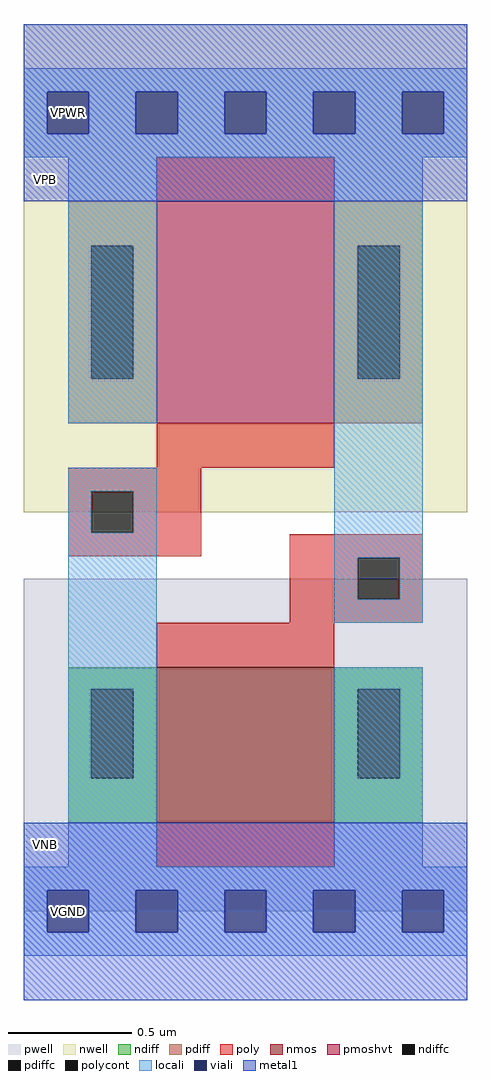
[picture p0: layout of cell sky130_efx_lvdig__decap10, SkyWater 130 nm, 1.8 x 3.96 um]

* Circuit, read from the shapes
.subckt sky130_efx_lvdig__decap10 VGND VPWR VPB VNB
XM1 VGND VPWR VGND VNB sky130_fd_pr__nfet_01v8 w=0.63 l=0.72
XM2 VPWR VGND VPWR VPB sky130_fd_pr__pfet_01v8_hvt w=0.9 l=0.72
.ends

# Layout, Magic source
magic
tech sky130A
magscale 1 2
<< nwell >>
rect 0 288 360 684
<< pwell >>
rect 0 0 360 216
<< poly >>
rect 108 324 252 360
rect 36 305 144 324
rect 36 271 55 305
rect 89 271 144 305
rect 36 252 144 271
rect 216 251 324 270
rect 216 217 271 251
rect 305 217 324 251
rect 216 198 324 217
rect 108 162 252 198
<< polycont >>
rect 55 271 89 305
rect 271 217 305 251
<< locali >>
rect 0 629 360 648
rect 0 595 19 629
rect 53 595 91 629
rect 125 595 163 629
rect 197 595 235 629
rect 269 595 307 629
rect 341 595 360 629
rect 0 576 360 595
rect 36 360 108 576
rect 36 305 108 324
rect 36 271 55 305
rect 89 271 108 305
rect 36 0 108 271
rect 252 251 324 576
rect 252 217 271 251
rect 305 217 324 251
rect 252 198 324 217
rect 252 0 324 162
rect 0 -19 360 0
rect 0 -53 19 -19
rect 53 -53 91 -19
rect 125 -53 163 -19
rect 197 -53 235 -19
rect 269 -53 307 -19
rect 341 -53 360 -19
rect 0 -72 360 -53
<< viali >>
rect 19 595 53 629
rect 91 595 125 629
rect 163 595 197 629
rect 235 595 269 629
rect 307 595 341 629
rect 19 -53 53 -19
rect 91 -53 125 -19
rect 163 -53 197 -19
rect 235 -53 269 -19
rect 307 -53 341 -19
<< metal1 >>
rect 0 629 360 684
rect 0 595 19 629
rect 53 595 91 629
rect 125 595 163 629
rect 197 595 235 629
rect 269 595 307 629
rect 341 595 360 629
rect 0 540 360 595
rect 0 -19 360 36
rect 0 -53 19 -19
rect 53 -53 91 -19
rect 125 -53 163 -19
rect 197 -53 235 -19
rect 269 -53 307 -19
rect 341 -53 360 -19
rect 0 -108 360 -53
use nmos_n3f5_f1_l720_ff_sp  nmos_n3f5_f1_l720_ff_sp_0
transform 1 0 72 0 1 36
box -72 -72 288 198
use pmos_n5_f1_l720_hvt_ff_sp  pmos_n5_f1_l720_hvt_ff_sp_0
transform 1 0 72 0 1 360
box -72 -72 288 252
<< labels >>
flabel metal1 0 -72 72 0 0 FreeSans 288 0 0 0 VGND
port 1 nsew ground bidirectional
flabel metal1 0 576 72 648 0 FreeSans 288 0 0 0 VPWR
port 2 nsew power bidirectional
flabel nwell 0 540 36 576 0 FreeSans 288 0 0 0 VPB
port 3 nsew power bidirectional
flabel pwell 0 0 36 36 0 FreeSans 288 0 0 0 VNB
port 4 nsew ground bidirectional
<< properties >>
string FIXED_BBOX 0 -36 360 612
<< end >>

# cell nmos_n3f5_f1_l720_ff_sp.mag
magic
tech sky130A
magscale 1 2
<< pwell >>
rect -72 -72 288 198
<< nmos >>
rect 36 0 180 126
<< ndiff >>
rect -36 108 36 126
rect -36 36 -17 108
rect 17 36 36 108
rect -36 0 36 36
rect 180 108 252 126
rect 180 36 199 108
rect 233 36 252 108
rect 180 0 252 36
<< ndiffc >>
rect -17 36 17 108
rect 199 36 233 108
<< poly >>
rect 36 126 180 162
rect 36 -36 180 0
<< locali >>
rect -36 108 36 126
rect -36 36 -17 108
rect 17 36 36 108
rect -36 0 36 36
rect 180 108 252 126
rect 180 36 199 108
rect 233 36 252 108
rect 180 0 252 36
<< end >>

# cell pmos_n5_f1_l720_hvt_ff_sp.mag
magic
tech sky130A
magscale 1 2
<< nwell >>
rect -72 -72 288 252
<< pmoshvt >>
rect 36 0 180 180
<< pdiff >>
rect -36 144 36 180
rect -36 36 -17 144
rect 17 36 36 144
rect -36 0 36 36
rect 180 144 252 180
rect 180 36 199 144
rect 233 36 252 144
rect 180 0 252 36
<< pdiffc >>
rect -17 36 17 144
rect 199 36 233 144
<< poly >>
rect 36 180 180 216
rect 36 -36 180 0
<< locali >>
rect -36 144 36 180
rect -36 36 -17 144
rect 17 36 36 144
rect -36 0 36 36
rect 180 144 252 180
rect 180 36 199 144
rect 233 36 252 144
rect 180 0 252 36
<< end >>
